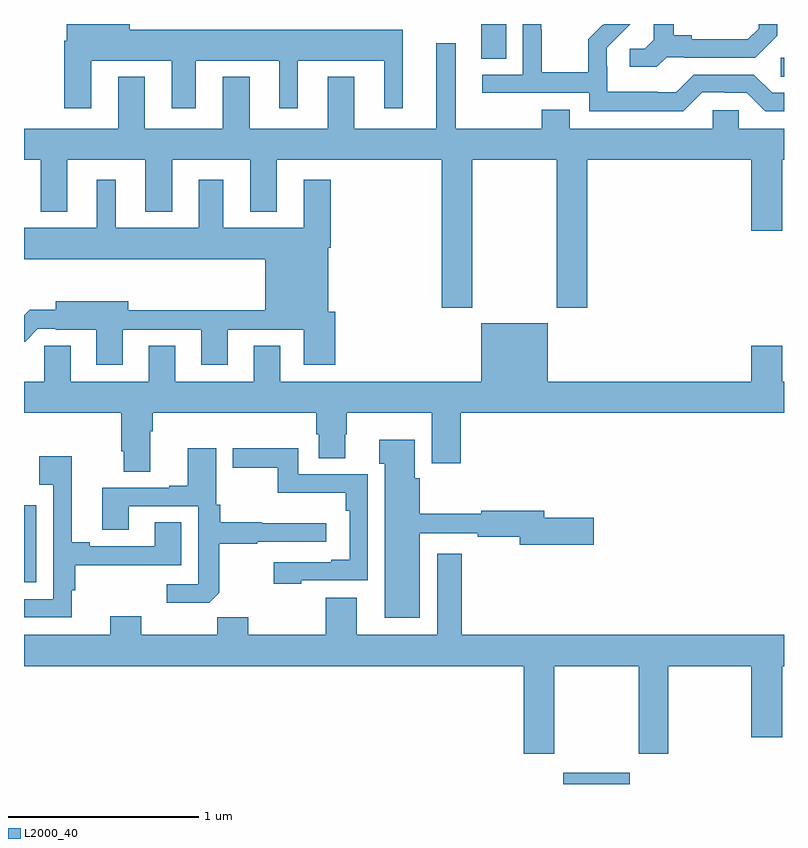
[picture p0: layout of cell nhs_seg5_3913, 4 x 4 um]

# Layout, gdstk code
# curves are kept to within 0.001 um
import gdstk
lib = gdstk.Library(unit=1e-6, precision=1e-09)
def R(c, l, rs):  # rectangles x0, y0, x1, y1
    for r in rs: c.add(gdstk.rectangle(r[:2], r[2:], *l))
def P(c, l, *ps):  # polygons
    for p in ps: c.add(gdstk.Polygon(p, *l))
L2000_40 = (2000, 40)

nhs_seg5_3913 = lib.new_cell('nhs_seg5_3913')
R(nhs_seg5_3913, L2000_40, [(343.838,862.799,344.188,862.858), (341,863.862,341.064,864.265), (344.982,866.521,345,866.622), (343.406,866.617,343.537,866.799)])
P(nhs_seg5_3913, L2000_40, [(344.382,866.625),(344.476,866.625),(344.476,866.622),(344.848,866.622),(344.964,866.738),(344.964,866.799),(344.867,866.799),(344.867,866.775),(344.81,866.718),(344.515,866.718),(344.515,866.741),(344.419,866.741),(344.419,866.799),(344.315,866.799),(344.315,866.717),(344.268,866.67),(344.187,866.67),(344.187,866.573),(344.33,866.573)],
  [(344.571,866.439),(344.687,866.439),(344.687,866.436),(344.805,866.436),(344.901,866.34),(345,866.34),(345,866.436),(344.937,866.436),(344.841,866.532),(344.526,866.532),(344.433,866.439),(344.333,866.439),(344.333,866.443),(344.07,866.443),(344.07,866.577),(344.068,866.577),(344.068,866.674),(344.191,866.799),(344.055,866.799),(344.049,866.793),(344.046,866.796),(343.969,866.719),(343.969,866.545),(343.725,866.545),(343.725,866.768),(343.722,866.768),(343.722,866.799),(343.626,866.799),(343.626,866.532),(343.413,866.532),(343.413,866.436),(343.974,866.436),(343.974,866.339),(344.471,866.339)],
  [(341.353,866.606),(341.777,866.606),(341.777,866.355),(341.905,866.355),(341.905,866.606),(342.344,866.606),(342.344,866.355),(342.442,866.355),(342.442,866.606),(342.896,866.606),(342.896,866.355),(342.994,866.355),(342.994,866.77),(341.557,866.77),(341.557,866.799),(341.225,866.799),(341.225,866.71),(341.213,866.71),(341.213,866.355),(341.353,866.355)],
  [(343.359,866.084),(343.804,866.084),(343.804,865.305),(343.964,865.305),(343.964,866.084),(344.828,866.084),(344.828,865.71),(344.992,865.71),(344.992,866.084),(345,866.084),(345,866.248),(344.763,866.248),(344.763,866.346),(344.625,866.346),(344.625,866.248),(343.873,866.248),(343.873,866.347),(343.726,866.347),(343.726,866.248),(343.273,866.248),(343.273,866.698),(343.169,866.698),(343.169,866.248),(342.739,866.248),(342.739,866.521),(342.599,866.521),(342.599,866.248),(342.187,866.248),(342.187,866.521),(342.047,866.521),(342.047,866.248),(341.635,866.248),(341.635,866.521),(341.495,866.521),(341.495,866.248),(341,866.248),(341,866.084),(341.087,866.084),(341.087,865.811),(341.227,865.811),(341.227,866.084),(341.639,866.084),(341.639,865.811),(341.779,865.811),(341.779,866.084),(342.191,866.084),(342.191,865.811),(342.331,865.811),(342.331,866.084),(343.199,866.084),(343.199,865.305),(343.359,865.305)],
  [(341.521,865.191),(341.933,865.191),(341.933,865.005),(342.073,865.005),(342.073,865.191),(342.473,865.191),(342.473,865.005),(342.638,865.005),(342.638,865.284),(342.601,865.284),(342.601,865.622),(342.614,865.622),(342.614,865.978),(342.473,865.978),(342.473,865.726),(342.049,865.726),(342.049,865.978),(341.921,865.978),(341.921,865.726),(341.482,865.726),(341.482,865.978),(341.384,865.978),(341.384,865.726),(341,865.726),(341,865.562),(342.269,865.562),(342.269,865.292),(341.548,865.292),(341.548,865.339),(341.168,865.339),(341.168,865.295),(341.03,865.295),(341,865.265),(341,865.127),(341.006,865.127),(341.073,865.194),(341.167,865.194),(341.167,865.191),(341.381,865.191),(341.381,865.005),(341.521,865.005)],
  [(344.828,865.105),(344.828,864.916),(343.756,864.916),(343.756,865.225),(343.406,865.225),(343.406,864.916),(342.349,864.916),(342.349,865.106),(342.209,865.106),(342.209,864.916),(341.797,864.916),(341.797,865.106),(341.657,865.106),(341.657,864.916),(341.245,864.916),(341.245,865.106),(341.106,865.106),(341.106,864.916),(341,864.916),(341,864.752),(341.513,864.752),(341.513,864.55),(341.525,864.55),(341.525,864.442),(341.665,864.442),(341.665,864.656),(341.678,864.656),(341.678,864.752),(342.539,864.752),(342.539,864.639),(342.551,864.639),(342.551,864.514),(342.691,864.514),(342.691,864.639),(342.699,864.639),(342.699,864.752),(343.145,864.752),(343.145,864.486),(343.298,864.486),(343.298,864.752),(345,864.752),(345,864.916),(344.992,864.916),(344.992,865.105)],
  [(343.084,864.12),(343.387,864.12),(343.387,864.1),(343.61,864.1),(343.61,864.058),(343.999,864.058),(343.999,864.2),(343.738,864.2),(343.738,864.236),(343.407,864.236),(343.407,864.221),(343.084,864.221),(343.084,864.408),(343.057,864.408),(343.057,864.61),(342.869,864.61),(342.869,864.485),(342.899,864.485),(342.899,863.675),(343.084,863.675)],
  [(342.459,863.871),(342.81,863.871),(342.81,864.429),(342.444,864.429),(342.444,864.566),(342.099,864.566),(342.099,864.463),(342.336,864.463),(342.336,864.332),(342.694,864.332),(342.694,864.236),(342.714,864.236),(342.714,863.98),(342.617,863.98),(342.617,863.967),(342.315,863.967),(342.315,863.852),(342.459,863.852)],
  [(342.027,863.805),(342.027,864.063),(342.227,864.063),(342.227,864.075),(342.592,864.075),(342.592,864.172),(342.251,864.172),(342.251,864.176),(342.032,864.176),(342.032,864.268),(342.012,864.268),(342.012,864.565),(341.861,864.565),(341.861,864.37),(341.765,864.37),(341.765,864.357),(341.411,864.357),(341.411,864.136),(341.551,864.136),(341.551,864.261),(341.916,864.261),(341.916,863.85),(341.751,863.85),(341.751,863.754),(341.975,863.754)],
  [(341.252,863.819),(341.27,863.819),(341.27,863.95),(341.827,863.95),(341.827,864.176),(341.687,864.176),(341.687,864.051),(341.347,864.051),(341.347,864.071),(341.251,864.071),(341.251,864.523),(341.079,864.523),(341.079,864.374),(341.154,864.374),(341.154,863.772),(341,863.772),(341,863.676),(341.252,863.676)],
  [(343.791,863.42),(344.236,863.42),(344.236,862.959),(344.391,862.959),(344.391,863.42),(344.828,863.42),(344.828,863.046),(344.992,863.046),(344.992,863.42),(345,863.42),(345,863.584),(343.304,863.584),(343.304,864.01),(343.175,864.01),(343.175,863.584),(342.751,863.584),(342.751,863.779),(342.587,863.779),(342.587,863.584),(342.181,863.584),(342.181,863.677),(342.017,863.677),(342.017,863.584),(341.617,863.584),(341.617,863.683),(341.453,863.683),(341.453,863.584),(341,863.584),(341,863.42),(343.631,863.42),(343.631,862.959),(343.791,862.959)])

lib.write_gds('nhs_seg5_3913.gds')
